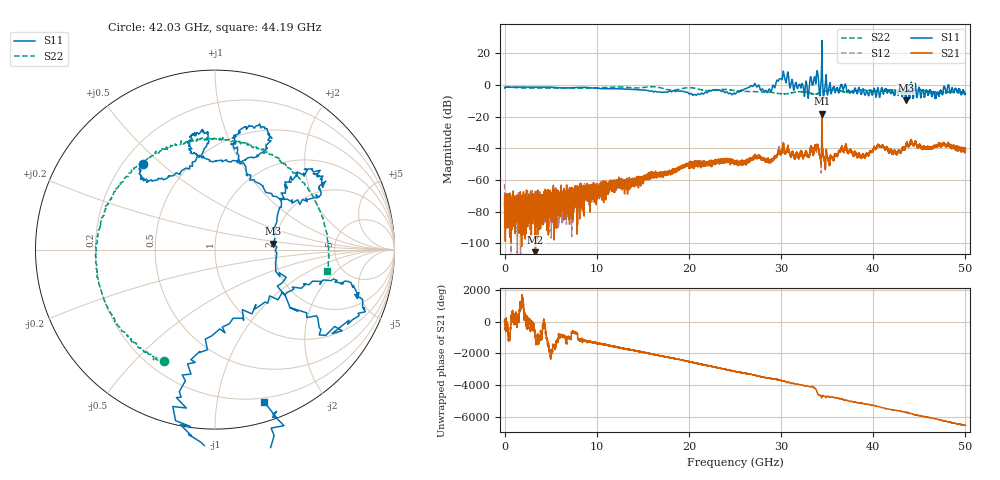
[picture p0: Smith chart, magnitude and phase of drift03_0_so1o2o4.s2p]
!Created with skrf (http://scikit-rf.org).
# Hz S RI R 50.0
!freq ReS11 ImS11 ReS21 ImS21 ReS12 ImS12 ReS22 ImS22
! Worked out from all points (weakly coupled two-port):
!   10001 points, 300 kHz to 50 GHz, reference 50 ohm
!   highest |S21| = -18.05 dB at 34.44 GHz (marker M1); lowest = -105.8 dB at 3.35 GHz (marker M2)
!   lowest |S11| = -9.8 dB at 43.53 GHz (marker M3), VSWR 1.96, Z = 97.5 + j7.21 ohm
!   |S11| at or under -10 dB: nowhere
!   |S22| runs from -5.8 to -1.1 dB; largest |S21 - S12| = 0.045
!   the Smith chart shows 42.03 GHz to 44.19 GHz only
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300000  -0.7735 -0.1601  0.000152 2.32e-05  -0.000304 0.000675  0.8594 -0.00216
1.575291e9  0.8561 -0.000586  3.43e-05 -0.000278  5.84e-05 8.38e-05  -0.8125 -0.000324
3.35028e9  -0.7878 0.3088  -4.26e-06 2.81e-06  -8.84e-05 0.000158  0.7432 -0.2885
8.33525e9  0.6661 -0.5181  0.000102 -0.00059  4.45e-05 -0.000655  -0.5055 0.607
1.179523e10  0.4688 -0.6047  -0.000359 -0.000598  -0.000349 -0.00066  0.149 0.8398
1.323022e10  -0.6478 0.355  0.000348 0.000665  0.000134 0.000694  0.00196 -0.8425
1.490021e10  0.6705 -0.1902  -0.000419 -0.00097  -0.000503 -0.00107  0.111 0.8132
1.66702e10  -0.3982 0.4482  0.00131 0.000803  0.00113 0.000797  -0.3115 -0.7845
1.802519e10  0.6085 -0.0965  -0.000851 -0.0016  -0.000946 -0.0015  -0.0952 0.6796
1.977518e10  -0.5236 0.2754  0.00254 0.00154  0.00258 0.00155  -0.0104 -0.8126
2.500015e10  -0.1347 -0.5094  -0.000757 0.00361  -0.00108 0.00375  0.4546 0.4835
2.743014e10  0.8762 -0.0282  -0.00535 -0.000394  -0.00543 -0.000414  -0.4117 0.4457
2.945012e10  -0.8939 0.7318  0.00459 -0.00177  0.00502 -0.00107  -0.1331 -0.5367
3.011012e10  0.5353 1.393  -0.00469 -0.00652  -0.00474 -0.00694  -0.5201 0.048
3.136011e10  0.0586 -0.6871  0.00198 0.00553  0.00185 0.00574  0.5305 0.2311
3.33351e10  -0.0512 1.189  -0.00547 -0.00785  -0.00503 -0.00866  -0.5132 0.1429
3.443509e10  -6.079 -24.73  0.1251 0.00309  0.0981 -0.0328  0.5663 0.1689
3.680008e10  0.7932 -0.0896  -0.00496 0.00574  -0.00468 0.00634  -0.477 0.3874
4.167005e10  -0.6228 0.1546  -0.00155 -0.00792  -0.00162 -0.00728  0.1641 -0.6581
4.353004e10  0.3237 0.033  0.00676 0.00883  0.00691 0.00914  0.1381 0.5995
4.821501e10  -0.8666 -0.2509  -0.0132 0.00156  -0.0132 0.00134  -0.2477 -0.5364
5e10  0.5107 -0.1563  0.0062 -0.00697  0.00678 -0.00662  0.4273 0.4119
